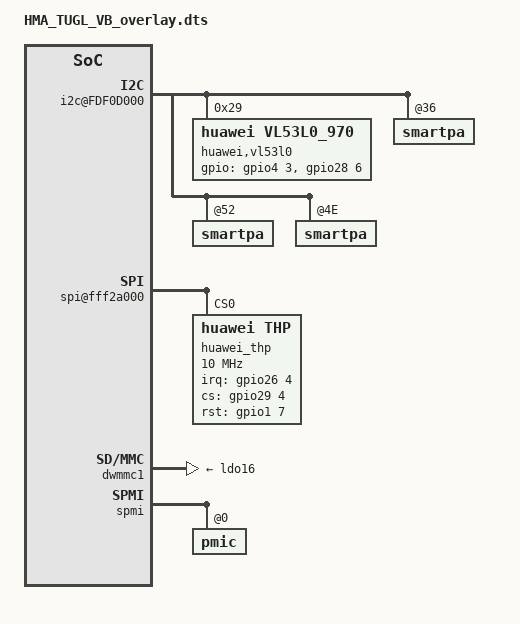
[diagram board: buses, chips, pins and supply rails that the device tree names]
/**
 * Copyright (C) 2014 Hisilicon Ltd.
 *
 *  This program is free software; you can redistribute it and/or modify
 *  it under the terms of the GNU General Public License version 2 as
 *  publishhed by the Free Software Foundation.
 */

/dts-v1/;
/plugin/;
/include/ "HMA_TUGL_V1_overlay.dtsi"
/include/ "HMA_TUGL_VB_pin.dtsi"
/include/ "HMA_TUGL_VB_modem_pin.dtsi"

/ {
    board_id = <8403>;
};

	&rootparam{
		hisi,boardid = <8 4 0 3>;
		hisi,boardname = "HMA_TUGL_VB";
		hisi,modem_id = <0x37000400>;
	};

	&huawei_lcd_panel {
		product_id = <1002>;
        };

    /*hisi bfgx*/
    &hisi_bfgx {
        hi110x,gpio_bfgx_wakeup_host = <&gpio28 5 0>;      /*GPIO_229*/
    };

	&amba {
		i2c@FDF0D000 {
			huawei,vl53l0@29{
				compatible = "huawei,vl53l0_970";
				huawei,laser_name = "vl53l0_970";
				reg = <0x29>;
				product_name = "HMA_LASER";
				huawei,i2c_index = <4>;
				gpios = <&gpio4 3 0 &gpio28 6 0>;
				huawei,gpio-ctrl-types = "xsdn","intr";
				/*pinctrl-names = "default", "idle";
				pinctrl-0 = <&gpio035_pmx_func &gpio035_cfg_func>;
				pinctrl-1 = <&gpio035_pmx_idle &gpio035_cfg_idle>;
				*/
				status = "ok";
			};

			smartpa@36{
				status = "ok";
				irq_handler {
					gpio_irq = <&gpio28 7 0>;
				};
			};

			smartpa@52{
				status = "ok";
				irq_handler {
					gpio_irq = <&gpio28 7 0>;
				};
			};

			smartpa@4E{
				status = "ok";
				irq_handler {
					gpio_irq = <&gpio28 7 0>;
				};
			};
		};
		spi@ffd70000 {
			status = "disabled";
		};
		spi@fff2a000 {
			hardware-mutex = <0x01>;
			smc-flag = <0x01>;
			status = "ok";
			huawei_thp@10 {
				compatible = "huawei,thp";
				spi-max-frequency = <10000000>;
				spi-bus-id = <3>;
				reg = <0>;
				pl022,com-mode = <2>;
				pl022,interface = <0>;
				pl022,rx-level-trig = <3>;
				pl022,tx-level-trig = <3>;
				pl022,ctrl-len = <7>;
				pl022,wait-state = <0>;
				pl022,duplex = <0>;
				pl022,slave-tx-disable = <0>;
				irq_gpio = <&gpio26 4 0>;
				cs_gpio = <&gpio29 4 0>;
				rst_gpio = <&gpio1 7 0>;
				boot_reset_hi_delay_ms = <1>;
				boot_reset_low_delay_ms = <0>;
				boot_reset_after_delay_ms = <0>;
				resume_reset_after_delay_ms = <1>;
				suspend_reset_after_delay_ms = <0>;
				spi_sync_cs_hi_delay_ns = <200>;
				spi_sync_cs_low_delay_ns = <10>;
				support_pinctrl = <1>;
				pinctrl-1 = <&gpio212_cfg_idle>;
				pinctrl-0 = <&gpio212_cfg_func>;
				pinctrl-names = "default", "idle";
				thp_input_dev {
					compatible = "huawei,thp_input";
					abs_max_x = <1080>;
					abs_max_y = <2244>;
				};

				synaptics_thp {
					spi_sync_cs_hi_delay_ns = <20>;
					spi_sync_cs_low_delay_ns = <20>;
					spi-mode = <3>;
					bits-per-word = <8>;
					need_huge_memory_in_spi = <1>;
				};

				novatech {
					spi_sync_cs_hi_delay_ns = <200>;
					spi_sync_cs_low_delay_ns = <200>;
				};

				himax-hx83112 {
					spi_sync_cs_hi_delay_ns = <20>;
					spi_sync_cs_low_delay_ns = <20>;
					get_frame_optimized_method = <1>;
				};

			};
		};
	};

    /* SD */
	/*
	while set mux-sdsim as 1,driver_strength for clk,cmd,data must be specified in dts,check config table below to make sure right value

	2MA_0   0x00
	4MA_0   0x10
	6MA_0   0x20
	8MA_0   0x30
	10MA_0  0x40
	12MA_0  0x50
	14MA_0  0x60
	16MA_0  0x70
	5MA_1   0x00
	7MA_1   0x10
	9MA_1   0x20
	11MA_1  0x30
	14MA_1  0x40
	16MA_1  0x50
	18MA_1  0x60
	20MA_1  0x70
	22MA_1  0x80
	25MA_1  0x90
	27MA_1  0xA0
	29MA_1  0xB0
	32MA_1  0xC0
	34MA_1  0xD0
	36MA_1  0xE0
	38MA_1  0xF0
	*/
	&dwmmc1 {
		caps2-mmc-hs200-1_8v;
		caps2-mmc-cache-ctrl;
		vmmc-supply = <&ldo16>;
		vqmmc-supply = <&ldo9>;
		cs_sd_timing_config_cancer;
		use_samdly_range = <5 8>;
		mux-sdsim = <1>;
		/*25MA_1 for sd clk*/
		driverstrength_clk = <0x90>;
		/*25MA_1 for sd cmd*/
		driverstrength_cmd = <0x90>;
		/*11MA_1 for sd data*/
		driverstrength_data = <0x30>;
		enable_shift_range = <4 8>;
		cd-vol = <1>;
		cd-gpio = <&gpio22 7 0>;
		shared-irq = <1>;
		status = "ok";
	};


&spmi {
    pmic@0 {
        sim0 {
            status = "ok";
            det_normal_direction = "closed";
            allocate_gpio = <0>;
            shared_det_irq = <1>;
            card_tray_style = <1>;
            det_high_debounce_wait_time = <400>;
            det_low_debounce_wait_time = <300>;
            factory_send_msg_to_cp = <1>;
            mux_sdsim = <0>;
        };

        sim1 {
            status = "ok";
            det_normal_direction = "closed";
            allocate_gpio = <0>;
            shared_det_irq = <1>;
            card_tray_style = <1>;
            det_high_debounce_wait_time = <400>;
            det_low_debounce_wait_time = <300>;
            factory_send_msg_to_cp = <1>;
            mux_sdsim = <1>;
        };
    };
};

